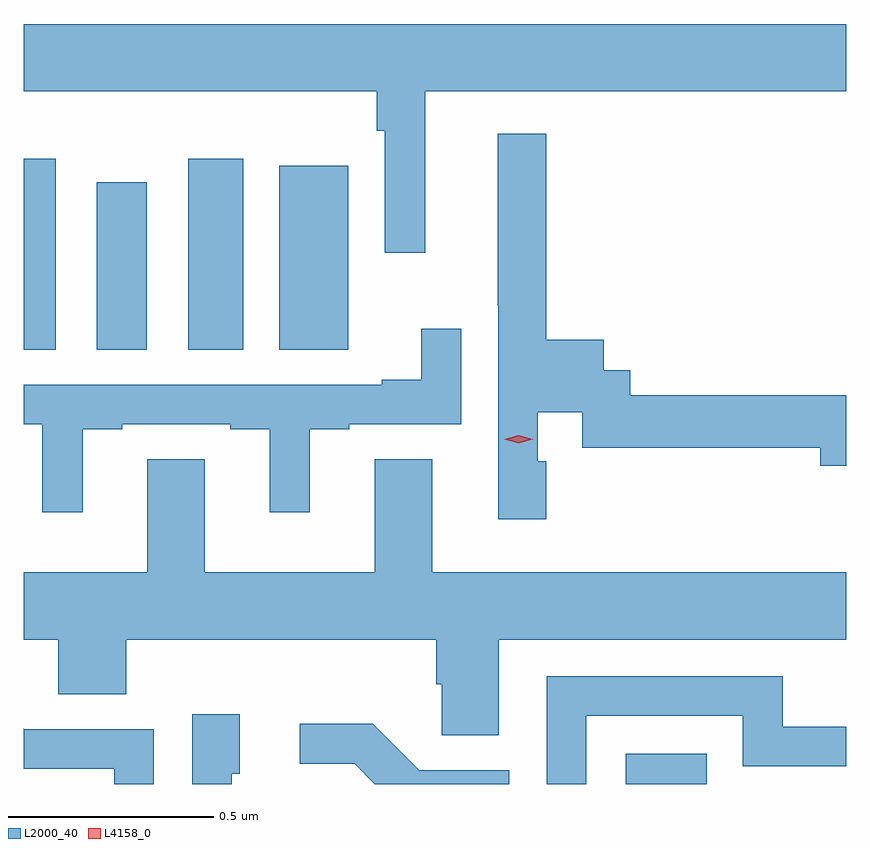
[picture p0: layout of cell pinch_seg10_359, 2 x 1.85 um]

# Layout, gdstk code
import gdstk
lib = gdstk.Library(unit=1e-6, precision=1e-09)
def R(c, l, rs):  # rectangles x0, y0, x1, y1
    for r in rs: c.add(gdstk.rectangle(r[:2], r[2:], *l))
def P(c, l, *ps):  # polygons
    for p in ps: c.add(gdstk.Polygon(p, *l))
L2000_40 = (2000, 40)
L4158_0 = (4158, 0)

pinch_seg10_359 = lib.new_cell('pinch_seg10_359')
R(pinch_seg10_359, L2000_40, [(480.111,1277.321,480.309,1277.395), (478.648,1278.376,478.726,1278.841), (478.826,1278.376,478.948,1278.784), (479.048,1278.376,479.182,1278.841), (479.27,1278.376,479.437,1278.823)])
P(pinch_seg10_359, L2000_40, [(479.624,1279.004),(480.648,1279.004),(480.648,1279.168),(478.648,1279.168),(478.648,1279.004),(479.506,1279.004),(479.506,1278.908),(479.526,1278.908),(479.526,1278.612),(479.624,1278.612)],
  [(479.918,1278.105),(479.898,1278.105),(479.898,1278.224),(480.006,1278.224),(480.006,1278.138),(480.584,1278.138),(480.584,1278.095),(480.648,1278.095),(480.648,1278.266),(480.122,1278.266),(480.122,1278.327),(480.058,1278.327),(480.058,1278.401),(479.918,1278.401),(479.918,1278.901),(479.801,1278.901),(479.801,1278.484),(479.802,1278.484),(479.802,1277.964),(479.918,1277.964)],
  [(478.792,1278.183),(478.888,1278.183),(478.888,1278.195),(479.15,1278.195),(479.15,1278.183),(479.246,1278.183),(479.246,1277.982),(479.344,1277.982),(479.344,1278.183),(479.44,1278.183),(479.44,1278.195),(479.712,1278.195),(479.712,1278.427),(479.615,1278.427),(479.615,1278.304),(479.519,1278.304),(479.519,1278.291),(478.648,1278.291),(478.648,1278.195),(478.694,1278.195),(478.694,1277.982),(478.792,1277.982)],
  [(479.803,1277.672),(480.648,1277.672),(480.648,1277.836),(479.641,1277.836),(479.641,1278.11),(479.501,1278.11),(479.501,1277.836),(479.089,1277.836),(479.089,1278.11),(478.949,1278.11),(478.949,1277.836),(478.648,1277.836),(478.648,1277.672),(478.733,1277.672),(478.733,1277.539),(478.898,1277.539),(478.898,1277.672),(479.651,1277.672),(479.651,1277.563),(479.664,1277.563),(479.664,1277.44),(479.803,1277.44)],
  [(480.015,1277.487),(480.396,1277.487),(480.396,1277.364),(480.648,1277.364),(480.648,1277.46),(480.493,1277.46),(480.493,1277.583),(479.919,1277.583),(479.919,1277.321),(480.015,1277.321)],
  [(479.154,1277.346),(479.173,1277.346),(479.173,1277.491),(479.058,1277.491),(479.058,1277.321),(479.154,1277.321)],
  [(479.829,1277.355),(479.61,1277.355),(479.497,1277.468),(479.319,1277.468),(479.319,1277.37),(479.453,1277.37),(479.502,1277.321),(479.829,1277.321)],
  [(478.965,1277.454),(478.649,1277.454),(478.649,1277.456),(478.648,1277.456),(478.648,1277.358),(478.869,1277.358),(478.869,1277.321),(478.965,1277.321)])
P(pinch_seg10_359, L4158_0, [(479.851,1278.149),(479.816,1278.159),(479.816,1278.159),(479.816,1278.159),(479.851,1278.169),(479.886,1278.159),(479.887,1278.159),(479.886,1278.159)])

lib.write_gds('pinch_seg10_359.gds')
